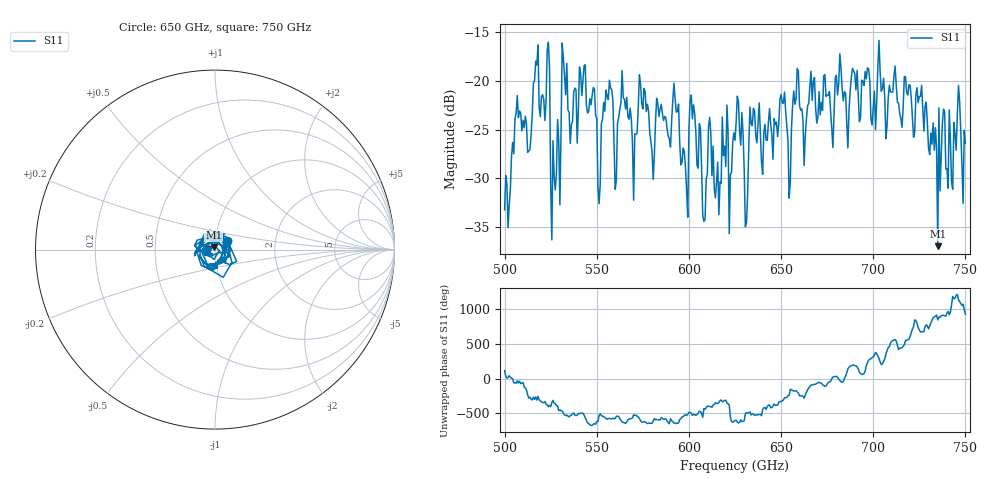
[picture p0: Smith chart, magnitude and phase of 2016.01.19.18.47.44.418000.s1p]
!Created with skrf (http://scikit-rf.org).
# GHz S RI R 50.0
!freq ReS11 ImS11
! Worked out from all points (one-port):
!   401 points, 500 GHz to 750 GHz, reference 50 ohm
!   lowest |S11| = -37.0 dB at 735 GHz (marker M1), VSWR 1.03, Z = 49.3 + j1.23 ohm
!   |S11| at or under -10 dB: start of sweep to end of sweep
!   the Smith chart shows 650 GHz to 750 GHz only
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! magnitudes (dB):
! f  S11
! 500 GHz  -33.3
! 506.9 GHz  -21.5
! 513.8 GHz  -27.0
! 516.9 GHz  -18.0
! 523.1 GHz  -16.8
! 526.2 GHz  -26.2
! 531.2 GHz  -16.1
! 542.5 GHz  -20.0
! 551.9 GHz  -30.6
! 556.2 GHz  -21.9
! 560.6 GHz  -30.2
! 562.5 GHz  -22.9
! 574.4 GHz  -22.3
! 580 GHz  -27.3
! 593.8 GHz  -23.1
! 598.1 GHz  -28.9
! 601.9 GHz  -23.9
! 608.8 GHz  -34.3
! 611.9 GHz  -25.4
! 615 GHz  -30.3
! 625 GHz  -26.1
! 631.2 GHz  -34.6
! 634.4 GHz  -24.6
! 656.2 GHz  -22.5
! 687.5 GHz  -21.1
! 718.8 GHz  -21.4
! 735 GHz  -37.0
! 750 GHz  -26.4
